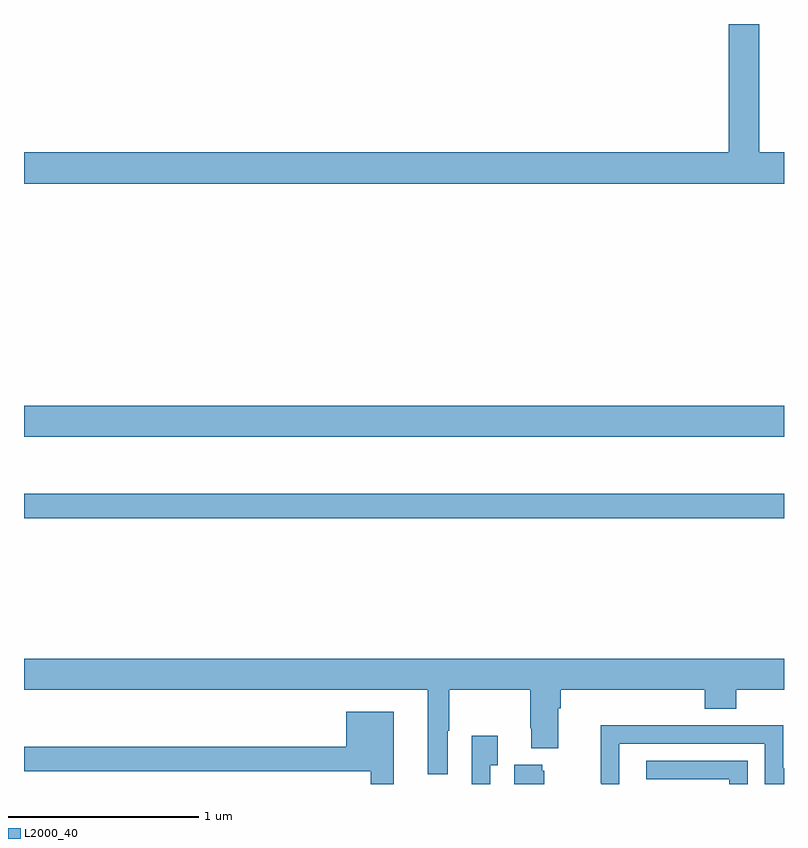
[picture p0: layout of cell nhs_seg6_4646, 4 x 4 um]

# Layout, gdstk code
import gdstk
lib = gdstk.Library(unit=1e-6, precision=1e-09)
def R(c, l, rs):  # rectangles x0, y0, x1, y1
    for r in rs: c.add(gdstk.rectangle(r[:2], r[2:], *l))
def P(c, l, *ps):  # polygons
    for p in ps: c.add(gdstk.Polygon(p, *l))
L2000_40 = (2000, 40)

nhs_seg6_4646 = lib.new_cell('nhs_seg6_4646')
R(nhs_seg6_4646, L2000_40, [(385,954.898,389,955.027), (385,955.328,389,955.492)])
P(nhs_seg6_4646, L2000_40, [(389,956.824),(388.869,956.824),(388.869,957.5),(388.709,957.5),(388.709,956.824),(385,956.824),(385,956.66),(389,956.66)],
  [(387.229,953.78),(387.239,953.78),(387.239,953.996),(387.664,953.996),(387.664,953.794),(387.671,953.794),(387.671,953.687),(387.811,953.687),(387.811,953.9),(387.824,953.9),(387.824,953.996),(388.583,953.996),(388.583,953.897),(388.748,953.897),(388.748,953.996),(389,953.996),(389,954.16),(385,954.16),(385,953.996),(387.125,953.996),(387.125,953.552),(387.229,953.552)],
  [(386.947,953.881),(386.696,953.881),(386.696,953.695),(385,953.695),(385,953.566),(386.826,953.566),(386.826,953.5),(386.947,953.5)],
  [(388.134,953.712),(388.899,953.712),(388.899,953.5),(389,953.5),(389,953.583),(388.995,953.583),(388.995,953.808),(388.499,953.808),(388.499,953.81),(388.036,953.81),(388.036,953.503),(388.038,953.503),(388.038,953.5),(388.134,953.5)],
  [(387.453,953.599),(387.493,953.599),(387.493,953.755),(387.357,953.755),(387.357,953.5),(387.453,953.5)],
  [(388.809,953.622),(388.275,953.622),(388.275,953.526),(388.713,953.526),(388.713,953.5),(388.809,953.5)],
  [(387.739,953.571),(387.728,953.571),(387.728,953.602),(387.581,953.602),(387.581,953.5),(387.739,953.5)])

lib.write_gds('nhs_seg6_4646.gds')
